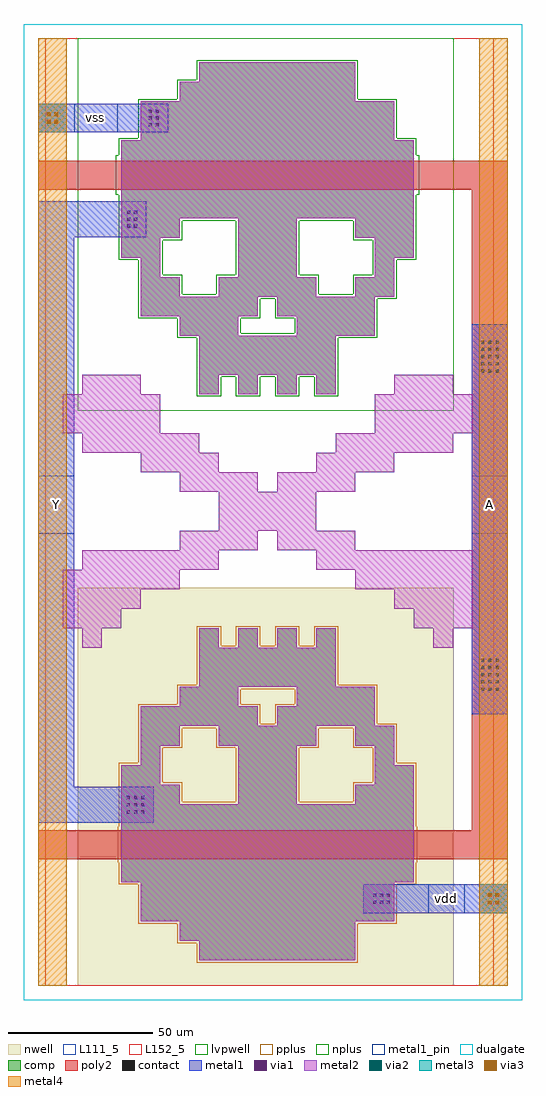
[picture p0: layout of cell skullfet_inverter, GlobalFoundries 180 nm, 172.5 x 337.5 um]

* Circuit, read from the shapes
.subckt skullfet_inverter A Y vdd vss
XM1 vss A Y VSUBS nfet_06v0 w=101.25u l=10u
XM2 Y A vdd n1 pfet_06v0 w=101.25u l=10u
.ends

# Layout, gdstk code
import gdstk
lib = gdstk.Library(unit=1e-6, precision=5e-09)
def R(c, l, rs):  # rectangles x0, y0, x1, y1
    for r in rs: c.add(gdstk.rectangle(r[:2], r[2:], *l))
def A(c, l, x, y, w, h, nx, ny, dx, dy):  # array of equal rectangles
    R(c, l, [(x+i*dx, y+j*dy, x+i*dx+w, y+j*dy+h) for i in range(nx) for j in range(ny)])
nwell = (21, 0)
comp = (22, 0)
poly2 = (30, 0)
pplus = (31, 0)
nplus = (32, 0)
contact = (33, 0)
metal1 = (34, 0)
metal1_pin = (34, 10)
via1 = (35, 0)
metal2 = (36, 0)
via2 = (38, 0)
via3 = (40, 0)
metal3 = (42, 0)
metal4 = (46, 0)
dualgate = (55, 0)
L111_5 = (111, 5)
L152_5 = (152, 5)
lvpwell = (204, 0)

skullfet_inverter = lib.new_cell('skullfet_inverter')
R(skullfet_inverter, nwell, [(76.25,20,206.25,157.5)])
A(skullfet_inverter, comp, 118.25, 136.75, 6.75, 6.75, 4, 2, 13.5, 87.75)
R(skullfet_inverter, comp, [(118.25,28.75,172.25,35.5), (111.5,35.5,172.25,42.25), (98,42.25,185.75,55.75), (91.25,55.75,192.5,82.75), (91.25,82.75,111.5,89.5), (131.75,82.75,152,103), (172.25,82.75,192.5,89.5), (91.25,89.5,104.75,96.25), (179,89.5,192.5,96.25), (98,96.25,104.75,103), (179,96.25,185.75,103), (98,103,111.5,109.75), (125,103,158.75,109.75), (172.25,103,185.75,109.75), (98,109.75,138.5,116.5), (145.25,109.75,179,116.5), (111.5,116.5,131.75,123.25), (152,116.5,179,123.25), (118.25,123.25,165.5,136.75), (118.25,231.25,165.5,244.75), (111.5,244.75,131.75,251.5), (152,244.75,179,251.5), (98,251.5,138.5,258.25), (145.25,251.5,179,258.25), (98,258.25,111.5,265), (125,258.25,158.75,265), (172.25,258.25,185.75,265), (98,265,104.75,271.75), (131.75,265,152,285.25), (179,265,185.75,271.75), (91.25,271.75,104.75,278.5), (179,271.75,192.5,278.5), (91.25,278.5,111.5,285.25), (172.25,278.5,192.5,285.25), (91.25,285.25,192.5,312.25), (98,312.25,185.75,325.75), (111.5,325.75,172.25,332.5), (118.25,332.5,172.25,339.25)])
R(skullfet_inverter, poly2, [(62.5,63.75,225,73.75), (212.5,73.75,225,295.25), (62.5,295.25,225,305.25)])
A(skullfet_inverter, pplus, 117.45, 137.55, 8.35, 6.75, 4, 1, 13.5, 0)
R(skullfet_inverter, pplus, [(117.45,27.95,173.05,34.7), (110.7,34.7,173.05,41.45), (97.2,41.45,186.55,54.95), (90.45,54.95,193.3,62.6), (90.1,62.6,193.65,74.9), (90.45,74.9,193.3,83.55), (90.45,83.55,112.3,90.3), (130.95,83.55,152.8,102.2), (171.45,83.55,193.3,90.3), (90.45,90.3,105.55,97.05), (178.2,90.3,193.3,97.05), (97.2,97.05,105.55,102.2), (178.2,97.05,186.55,102.2), (97.2,102.2,112.3,108.95), (124.2,102.2,159.55,108.95), (171.45,102.2,186.55,108.95), (97.2,108.95,186.55,110.55), (97.2,110.55,139.3,117.3), (144.45,110.55,179.8,117.3), (110.7,117.3,132.55,122.45), (151.2,117.3,179.8,122.45), (110.7,122.45,179.8,124.05), (117.45,124.05,166.3,137.55)])
A(skullfet_inverter, nplus, 117.45, 223.7, 8.35, 8.15, 4, 1, 13.5, 0)
R(skullfet_inverter, nplus, [(117.45,230.45,166.3,245.35), (117.45,230.45,166.3,245.35), (117.45,230.45,166.3,245.35), (117.45,230.45,166.3,245.35), (117.45,230.45,166.3,245.35), (110.7,243.95,179.8,245.55), (110.7,243.95,179.8,245.55), (110.7,243.95,179.8,245.55), (110.7,244.15,132.55,252.1), (151.2,244.15,179.8,252.1), (97.2,250.7,139.3,258.85), (97.2,250.7,139.3,258.85), (144.45,250.7,179.8,258.85), (144.45,250.7,179.8,258.85), (97.2,257.45,186.55,259.05), (97.2,257.45,186.55,259.05), (97.2,257.45,186.55,259.05), (97.2,257.45,186.55,259.05), (97.2,257.45,186.55,259.05), (97.2,257.65,112.3,265.8), (97.2,257.65,112.3,265.8), (124.2,257.65,159.55,265.8), (124.2,257.65,159.55,265.8), (171.45,257.65,186.55,265.8), (171.45,257.65,186.55,265.8), (97.2,264.4,105.55,272.35), (130.95,264.4,152.8,285.85), (178.2,264.4,186.55,272.35), (90.45,270.95,105.55,279.1), (90.45,270.95,105.55,279.1), (178.2,270.95,193.3,279.1), (178.2,270.95,193.3,279.1), (90.45,277.7,112.3,285.85), (90.45,277.7,112.3,285.85), (171.45,277.7,193.3,285.85), (171.45,277.7,193.3,285.85), (90.45,284.45,193.3,294.8), (90.45,284.45,193.3,294.8), (90.45,284.45,193.3,294.8), (90.45,284.45,193.3,294.8), (89.4,293.4,194.35,307.1), (90.45,305.7,193.3,313.05), (90.45,305.7,193.3,313.05), (97.2,311.65,186.55,326.55), (97.2,311.65,186.55,326.55), (110.7,325.15,173.05,333.3), (110.7,325.15,173.05,333.3), (117.45,331.9,173.05,340.05)])
A(skullfet_inverter, contact, 178.35, 48.275, 1.1, 1.1, 3, 2, 2.35, 2.35)
A(skullfet_inverter, contact, 93.2, 79.45, 1.1, 1.1, 3, 3, 2.5, 2.5)
A(skullfet_inverter, contact, 215.7, 121.95, 1.1, 1.1, 3, 5, 2.5, 2.5)
A(skullfet_inverter, contact, 215.7, 231.95, 1.1, 1.1, 3, 5, 2.5, 2.5)
A(skullfet_inverter, contact, 93.275, 282.1, 1.1, 1.1, 1, 3, 0, 2.35)
A(skullfet_inverter, contact, 95.625, 282.1, 1.1, 1.1, 1, 3, 0, 2.35)
A(skullfet_inverter, contact, 100.775, 317.1, 1.1, 1.1, 1, 3, 0, 2.35)
A(skullfet_inverter, contact, 103.125, 317.1, 1.1, 1.1, 1, 3, 0, 2.35)
R(skullfet_inverter, metal1, [(175,45,225,55), (62.5,76.25,102.5,88.75), (62.5,88.75,75,278.75), (212.5,113.75,225,248.75), (62.5,278.75,100,291.25), (62.5,315,107.5,325)])
R(skullfet_inverter, metal1_pin, [(197.5,45,210,55), (62.5,176.25,75,196.25), (212.5,176.25,225,196.25), (75,315,90,325)])
R(skullfet_inverter, via1, [(218.05,48.05,219.35,49.35), (220.65,48.05,221.95,49.35), (218.05,50.65,219.35,51.95), (220.65,50.65,221.95,51.95), (65.55,318.05,66.85,319.35), (68.15,318.05,69.45,319.35), (65.55,320.65,66.85,321.95), (68.15,320.65,69.45,321.95)])
A(skullfet_inverter, metal2, 118.25, 136.75, 6.75, 6.75, 4, 2, 13.5, 87.75)
R(skullfet_inverter, metal2, [(118.25,28.75,172.25,35.5), (111.5,35.5,172.25,42.25), (98,42.25,185.75,55.75), (215,45,225,55), (91.25,55.75,192.5,82.75), (91.25,82.75,111.5,89.5), (131.75,82.75,152,103), (172.25,82.75,192.5,89.5), (91.25,89.5,104.75,96.25), (179,89.5,192.5,96.25), (98,96.25,104.75,103), (179,96.25,185.75,103), (98,103,111.5,109.75), (125,103,158.75,109.75), (172.25,103,185.75,109.75), (98,109.75,138.5,116.5), (145.25,109.75,179,116.5), (111.5,116.5,131.75,123.25), (152,116.5,179,123.25), (118.25,123.25,165.5,136.75), (77.75,136.75,84.5,143.5), (199.25,136.75,206,143.5), (71,143.5,91.25,150.25), (192.5,143.5,212.75,150.25), (71,150.25,98,157), (185.75,150.25,212.75,157), (71,157,111.5,163.75), (172.25,157,212.75,163.75), (77.75,163.75,125,170.5), (158.75,163.75,212.75,170.5), (111.5,170.5,138.5,177.25), (145.25,170.5,172.25,177.25), (125,177.25,158.75,190.75), (111.5,190.75,138.5,197.5), (145.25,190.75,172.25,197.5), (98,197.5,125,204.25), (158.75,197.5,185.75,204.25), (77.75,204.25,118.25,211), (165.5,204.25,206,211), (71,211,104.75,224.5), (179,211,212.75,224.5), (77.75,224.5,98,231.25), (185.75,224.5,206,231.25), (118.25,231.25,165.5,244.75), (111.5,244.75,131.75,251.5), (152,244.75,179,251.5), (98,251.5,138.5,258.25), (145.25,251.5,179,258.25), (98,258.25,111.5,265), (125,258.25,158.75,265), (172.25,258.25,185.75,265), (98,265,104.75,271.75), (131.75,265,152,285.25), (179,265,185.75,271.75), (91.25,271.75,104.75,278.5), (179,271.75,192.5,278.5), (91.25,278.5,111.5,285.25), (172.25,278.5,192.5,285.25), (91.25,285.25,192.5,312.25), (98,312.25,185.75,325.75), (62.5,315,72.5,325), (111.5,325.75,172.25,332.5), (118.25,332.5,172.25,339.25)])
R(skullfet_inverter, via2, [(218.05,48.05,219.35,49.35), (220.65,48.05,221.95,49.35), (218.05,50.65,219.35,51.95), (220.65,50.65,221.95,51.95), (65.55,318.05,66.85,319.35), (68.15,318.05,69.45,319.35), (65.55,320.65,66.85,321.95), (68.15,320.65,69.45,321.95)])
R(skullfet_inverter, via3, [(218.05,48.05,219.35,49.35), (220.65,48.05,221.95,49.35), (218.05,50.65,219.35,51.95), (220.65,50.65,221.95,51.95), (65.55,318.05,66.85,319.35), (68.15,318.05,69.45,319.35), (65.55,320.65,66.85,321.95), (68.15,320.65,69.45,321.95)])
R(skullfet_inverter, metal3, [(215,45,225,55), (62.5,315,72.5,325)])
R(skullfet_inverter, metal4, [(62.5,20,72.5,347.5), (215,20,225,347.5)])
A(skullfet_inverter, dualgate, 117.05, 137.95, 9.15, 6.75, 4, 2, 13.5, 85.35)
R(skullfet_inverter, dualgate, [(57.5,15,230,352.5), (117.05,27.55,173.45,34.3), (110.3,34.3,173.45,41.05), (96.8,41.05,186.95,54.55), (90.05,54.55,193.7,61.75), (89.25,61.75,194.5,75.75), (90.05,75.75,193.7,83.95), (90.05,83.95,112.7,90.7), (130.55,83.95,153.2,101.8), (171.05,83.95,193.7,90.7), (90.05,90.7,105.95,97.45), (177.8,90.7,193.7,97.45), (96.8,97.45,105.95,101.8), (177.8,97.45,186.95,101.8), (96.8,101.8,112.7,108.55), (123.8,101.8,159.95,108.55), (171.05,101.8,186.95,108.55), (96.8,108.55,186.95,110.95), (96.8,110.95,139.7,117.7), (144.05,110.95,180.2,117.7), (110.3,117.7,132.95,122.05), (150.8,117.7,180.2,122.05), (110.3,122.05,180.2,124.45), (117.05,124.45,166.7,137.95), (117.05,230.05,166.7,243.55), (110.3,243.55,180.2,245.95), (110.3,245.95,132.95,250.3), (150.8,245.95,180.2,250.3), (96.8,250.3,139.7,257.05), (144.05,250.3,180.2,257.05), (96.8,257.05,186.95,259.45), (96.8,259.45,112.7,266.2), (123.8,259.45,159.95,266.2), (171.05,259.45,186.95,266.2), (96.8,266.2,105.95,270.55), (130.55,266.2,153.2,284.05), (177.8,266.2,186.95,270.55), (90.05,270.55,105.95,277.3), (177.8,270.55,193.7,277.3), (90.05,277.3,112.7,284.05), (171.05,277.3,193.7,284.05), (90.05,284.05,193.7,293.25), (89.25,293.25,194.5,307.25), (90.05,307.25,193.7,313.45), (96.8,313.45,186.95,326.95), (110.3,326.95,173.45,333.7), (117.05,333.7,173.45,340.45)])
R(skullfet_inverter, L111_5, [(65,20,220,347.5)])
R(skullfet_inverter, L152_5, [(65,20,220,347.5)])
R(skullfet_inverter, lvpwell, [(76.25,218.75,206.25,347.5)])
skullfet_inverter.add(gdstk.Label('vss', (82.5,320), layer=34, texttype=10))
skullfet_inverter.add(gdstk.Label('vdd', (203.75,50), layer=34, texttype=10))
skullfet_inverter.add(gdstk.Label('Y', (68.75,186.25), layer=34, texttype=10))
skullfet_inverter.add(gdstk.Label('A', (218.75,186.25), layer=34, texttype=10))

lib.write_gds('skullfet_inverter.gds')
